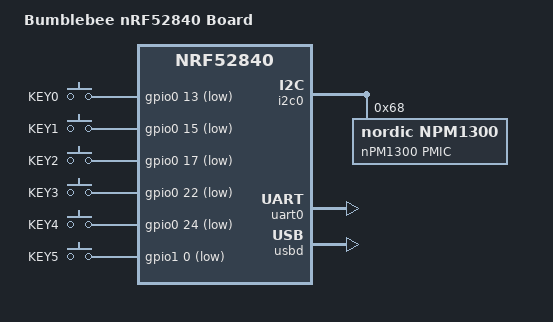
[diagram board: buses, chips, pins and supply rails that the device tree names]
/ {
	model = "Bumblebee nRF52840 Board";
	compatible = "bumblebee,nrf52840";

	chosen {
		zephyr,console = &uart0;  /* If you're using UART for logs/console */
	};
};

#include <nordic/nrf52840_qia.dtsi>

/ {
	/* 6 Direct-Wire Keys on P0.13, P0.15, P0.17, P0.22, P0.24, P1.00 */
	bumblebee_keys: buttons {
		compatible = "gpio-keys";

		button0: key_0 {
			gpios = <&gpio0 13 (GPIO_ACTIVE_LOW | GPIO_PULL_UP)>;
			label = "KEY0";
		};
		button1: key_1 {
			gpios = <&gpio0 15 (GPIO_ACTIVE_LOW | GPIO_PULL_UP)>;
			label = "KEY1";
		};
		button2: key_2 {
			gpios = <&gpio0 17 (GPIO_ACTIVE_LOW | GPIO_PULL_UP)>;
			label = "KEY2";
		};
		button3: key_3 {
			gpios = <&gpio0 22 (GPIO_ACTIVE_LOW | GPIO_PULL_UP)>;
			label = "KEY3";
		};
		button4: key_4 {
			gpios = <&gpio0 24 (GPIO_ACTIVE_LOW | GPIO_PULL_UP)>;
			label = "KEY4";
		};
		button5: key_5 {
			gpios = <&gpio1 0 (GPIO_ACTIVE_LOW | GPIO_PULL_UP)>;
			label = "KEY5";
		};
	};
};

/* Enable the default I2C controller for your nPM1300 PMIC at address 0x68 */
&i2c0 {
	status = "okay";

	npm1300: npm1300@68 {
		compatible = "nordic,npm1300";
		reg = <0x68>;
		label = "nPM1300 PMIC";
	};
};

/* Make sure these peripherals are enabled if you need them. */
&gpio0 {
	status = "okay";
};

&gpio1 {
	status = "okay";
};

&uart0 {
	status = "okay";
};

&usbd {
	status = "okay";
};

